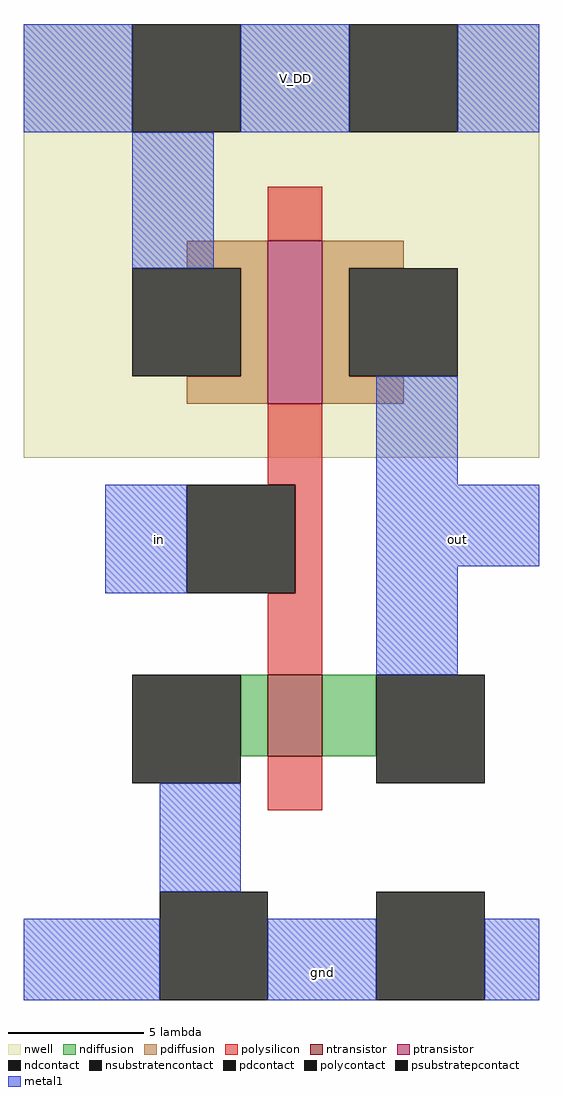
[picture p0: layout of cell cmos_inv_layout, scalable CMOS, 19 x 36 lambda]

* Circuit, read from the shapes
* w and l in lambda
.subckt cmos_inv_layout V_DD gnd in out
M1 out in gnd gnd nfet w=3 l=2
M2 out in V_DD V_DD pfet w=6 l=2
.ends

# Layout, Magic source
magic
tech scmos
<< nwell >>
rect -10 -4 9 12
<< polysilicon >>
rect -1 4 1 6
rect -1 -5 1 -2
rect 0 -9 1 -5
rect -1 -12 1 -9
rect -1 -17 1 -15
<< ndiffusion >>
rect -2 -15 -1 -12
rect 1 -15 3 -12
<< pdiffusion >>
rect -4 3 -1 4
rect -2 -1 -1 3
rect -4 -2 -1 -1
rect 1 3 4 4
rect 1 -1 2 3
rect 1 -2 4 -1
<< metal1 >>
rect -10 8 -6 12
rect -2 8 2 12
rect 6 8 9 12
rect -6 3 -3 8
rect 3 -5 6 -1
rect -7 -9 -4 -5
rect 3 -8 9 -5
rect 3 -12 6 -8
rect -5 -20 -2 -16
rect -10 -24 -5 -21
rect -1 -24 3 -21
rect 7 -24 9 -21
<< ntransistor >>
rect -1 -15 1 -12
<< ptransistor >>
rect -1 -2 1 4
<< polycontact >>
rect -4 -9 0 -5
<< ndcontact >>
rect -6 -16 -2 -12
rect 3 -16 7 -12
<< pdcontact >>
rect -6 -1 -2 3
rect 2 -1 6 3
<< psubstratepcontact >>
rect -5 -24 -1 -20
rect 3 -24 7 -20
<< nsubstratencontact >>
rect -6 8 -2 12
rect 2 8 6 12
<< labels >>
rlabel metal1 6 -7 6 -7 1 out
rlabel metal1 -5 -7 -5 -7 1 in
rlabel metal1 0 10 0 10 1 V_DD
rlabel metal1 1 -23 1 -23 1 gnd
<< end >>
